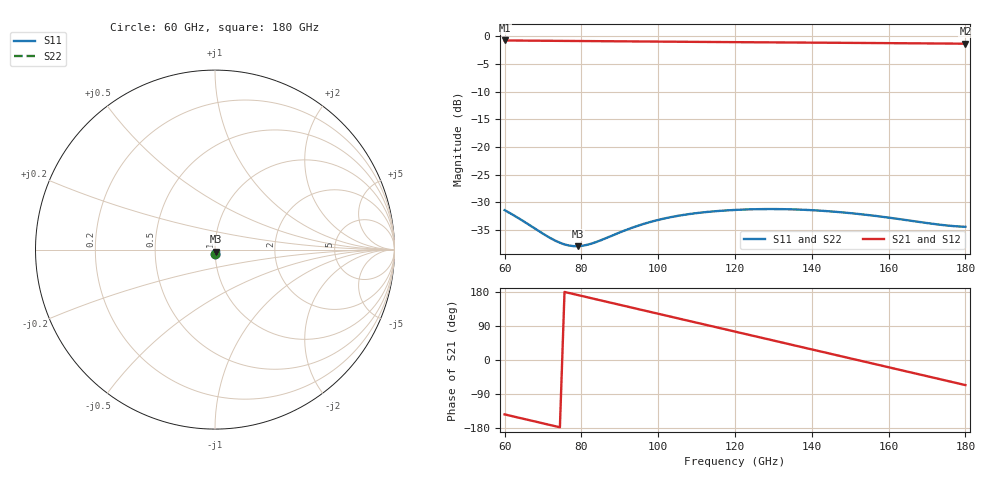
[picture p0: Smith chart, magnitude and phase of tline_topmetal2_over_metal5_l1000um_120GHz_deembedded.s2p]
! Created with skrf 2.2.0 (http://scikit-rf.org).
# GHz S DB R 50.0
! Port[1] = P1
! Port[2] = P2
!freq dBS11 angS11 dBS21 angS21 dBS12 angS12 dBS22 angS22
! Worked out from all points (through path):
!   101 points, 60 GHz to 180 GHz, reference 50 ohm
!   highest |S21| = -0.76 dB at 60 GHz (marker M1); lowest = -1.3 dB at 180 GHz (marker M2)
!   group delay of S21, straight-line fit = 6.54 ps
!   lowest |S11| = -37.9 dB at 79.2 GHz (marker M3), VSWR 1.03, Z = 50.5 - j1.17 ohm
!   |S11| at or under -10 dB: start of sweep to end of sweep
!   |S22| runs from -38.0 to -31.3 dB; largest |S21 - S12| = 1e-13
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60  -31.40 -92.5  -0.76 -143.6  -0.76 -143.6  -31.33 -93.1
64.8  -33.36 -94.4  -0.79 -154.9  -0.79 -154.9  -33.28 -95.2
69.6  -35.48 -91.3  -0.81 -166.2  -0.81 -166.2  -35.41 -92.4
74.4  -37.29 -81.2  -0.84 -177.6  -0.84 -177.6  -37.28 -82.6
79.2  -37.91 -66.0  -0.86 171.1  -0.86 171.1  -37.98 -67.4
80.4  -37.82 -62.3  -0.87 168.3  -0.87 168.3  -37.91 -63.6
90  -35.43 -46.3  -0.92 145.6  -0.92 145.6  -35.55 -46.9
96  -33.93 -46.2  -0.95 131.5  -0.95 131.5  -34.03 -46.6
100.8  -33.04 -48.5  -0.97 120.2  -0.97 120.2  -33.11 -48.8
105.6  -32.38 -51.8  -1.00 108.9  -1.00 108.9  -32.44 -52.1
110.4  -31.91 -55.4  -1.02 97.6  -1.02 97.6  -31.97 -55.7
115.2  -31.58 -59.1  -1.04 86.3  -1.04 86.3  -31.64 -59.5
120  -31.37 -62.8  -1.07 75.0  -1.07 75.0  -31.42 -63.2
129.6  -31.21 -70.0  -1.11 52.4  -1.11 52.4  -31.27 -70.3
135.6  -31.28 -74.2  -1.14 38.3  -1.14 38.3  -31.35 -74.5
140.4  -31.42 -77.3  -1.16 27.0  -1.16 27.0  -31.50 -77.5
146.4  -31.71 -80.7  -1.18 12.9  -1.18 12.9  -31.79 -80.7
151.2  -32.02 -82.8  -1.21 1.6  -1.21 1.6  -32.10 -82.7
156  -32.40 -84.4  -1.23 -9.7  -1.23 -9.7  -32.46 -84.2
160.8  -32.83 -85.3  -1.25 -21.0  -1.25 -21.0  -32.87 -84.9
170.4  -33.77 -84.0  -1.30 -43.6  -1.30 -43.6  -33.74 -83.4
180  -34.41 -77.4  -1.35 -66.2  -1.35 -66.2  -34.28 -77.0
